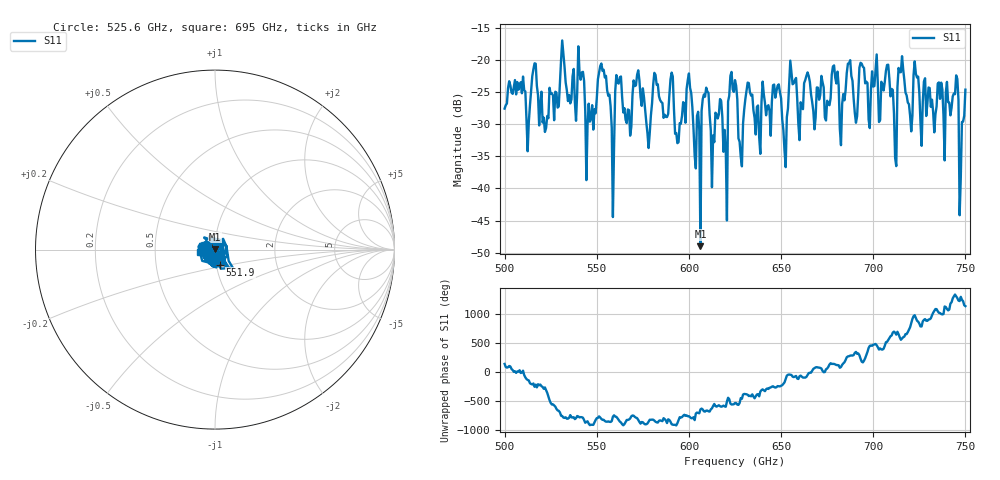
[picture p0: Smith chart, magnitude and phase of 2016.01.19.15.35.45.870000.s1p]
!Created with skrf (http://scikit-rf.org).
# GHz S RI R 50.0
!freq ReS11 ImS11
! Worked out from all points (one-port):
!   401 points, 500 GHz to 750 GHz, reference 50 ohm
!   lowest |S11| = -49.0 dB at 606.2 GHz (marker M1), VSWR 1.01, Z = 50.1 + j0.331 ohm
!   |S11| at or under -10 dB: start of sweep to end of sweep
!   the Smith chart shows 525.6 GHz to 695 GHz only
!   S11 on the Smith chart (normalised r, x): 525.6 GHz: 0.91, +0.05; 551.9 GHz: 1.04, -0.18; 695 GHz: 0.84, -0.02
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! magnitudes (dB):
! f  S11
! 500 GHz  -27.6
! 525.6 GHz  -25.2
! 531.2 GHz  -17.0
! 541.2 GHz  -23.1
! 545.6 GHz  -26.8
! 551.9 GHz  -21.0
! 558.1 GHz  -30.5
! 562.5 GHz  -22.7
! 578.1 GHz  -33.7
! 590.6 GHz  -22.0
! 593.8 GHz  -33.0
! 600 GHz  -22.1
! 606.2 GHz  -49.0
! 609.4 GHz  -24.3
! 619.4 GHz  -30.9
! 625 GHz  -23.1
! 628.1 GHz  -35.1
! 632.5 GHz  -23.6
! 648.8 GHz  -23.8
! 651.9 GHz  -34.2
! 656.2 GHz  -23.8
! 683.1 GHz  -26.9
! 687.5 GHz  -20.0
! 695 GHz  -21.2
! 718.8 GHz  -26.6
! 745 GHz  -22.4
! 748.1 GHz  -29.7
! 750 GHz  -24.6
